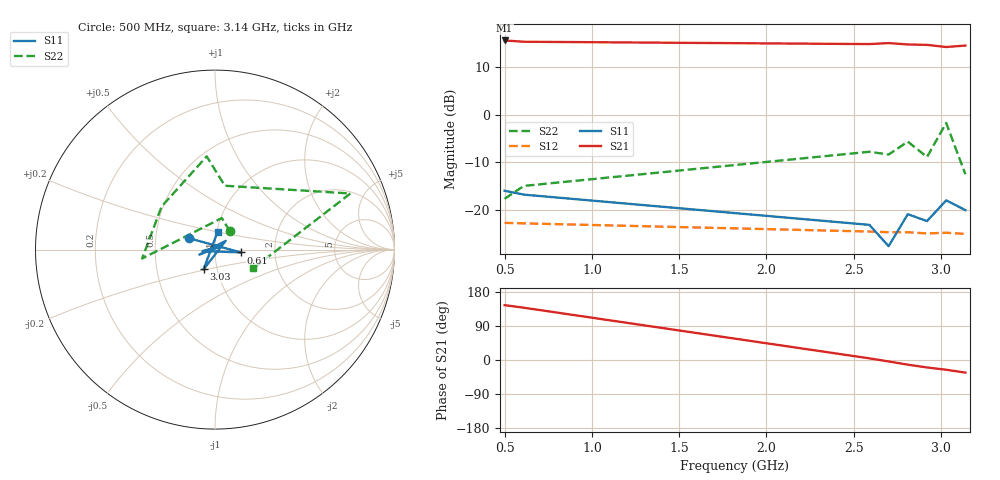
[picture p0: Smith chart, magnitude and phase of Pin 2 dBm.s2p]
! RsaToolbox (C) 2015 Rohde & Schwarz America
! Number of points: 8
! Number of ports: 2
! Balanced ports?: No
# Hz S RI R 50
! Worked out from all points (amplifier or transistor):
!   8 points, 500 MHz to 3.14 GHz, reference 50 ohm
!   highest |S21| = 15.5 dB at 500 MHz (marker M1)
!   |S21| within 3 dB of that: start of sweep to end of sweep
!   unconditionally stable (mu >= 1): start of sweep to 3.012 GHz; 3.041 GHz to end of sweep
!   at 610 MHz: K = 1.31, MAG = 15.6 dB, |S12| = -22.7 dB
!   at 2.81 GHz: K = 1.33, MAG = 16.2 dB, |S12| = -24.6 dB
!   at 3.14 GHz: K = 1.71, MAG = 14.7 dB, |S12| = -24.9 dB
!   S11 on the Smith chart (normalised r, x): 500 MHz: 0.74, +0.10; 610 MHz: 1.34, -0.04; 3.03 GHz: 0.86, -0.19; 3.14 GHz: 1.01, +0.20
5e8  -0.1468 0.0636  -4.849 3.421  0.0641 -0.0369  0.083 0.1024
6.1e8  0.1449 -0.0159  -4.274 3.851  0.0583 -0.044  0.0379 0.1757
2.59e9  -0.07 -0.00792  5.424 0.4146  -0.06 -0.0007  -0.4056 -0.0495
2.7e9  0.0372 0.0199  5.558 -0.3771  -0.0547 -0.0223  -0.2975 0.2402
2.81e9  -0.0866 -0.0279  5.266 -1.15  -0.0586 0.00716  -0.0462 0.5192
2.92e9  0.0596 0.049  5.026 -1.796  -0.0573 -0.000524  0.0545 0.3559
3.03e9  -0.0634 -0.11  4.57 -2.195  -0.057 0.0123  0.7543 0.3126
3.14e9  0.0142 0.0993  4.387 -2.886  -0.0553 0.0122  0.2135 -0.1042
